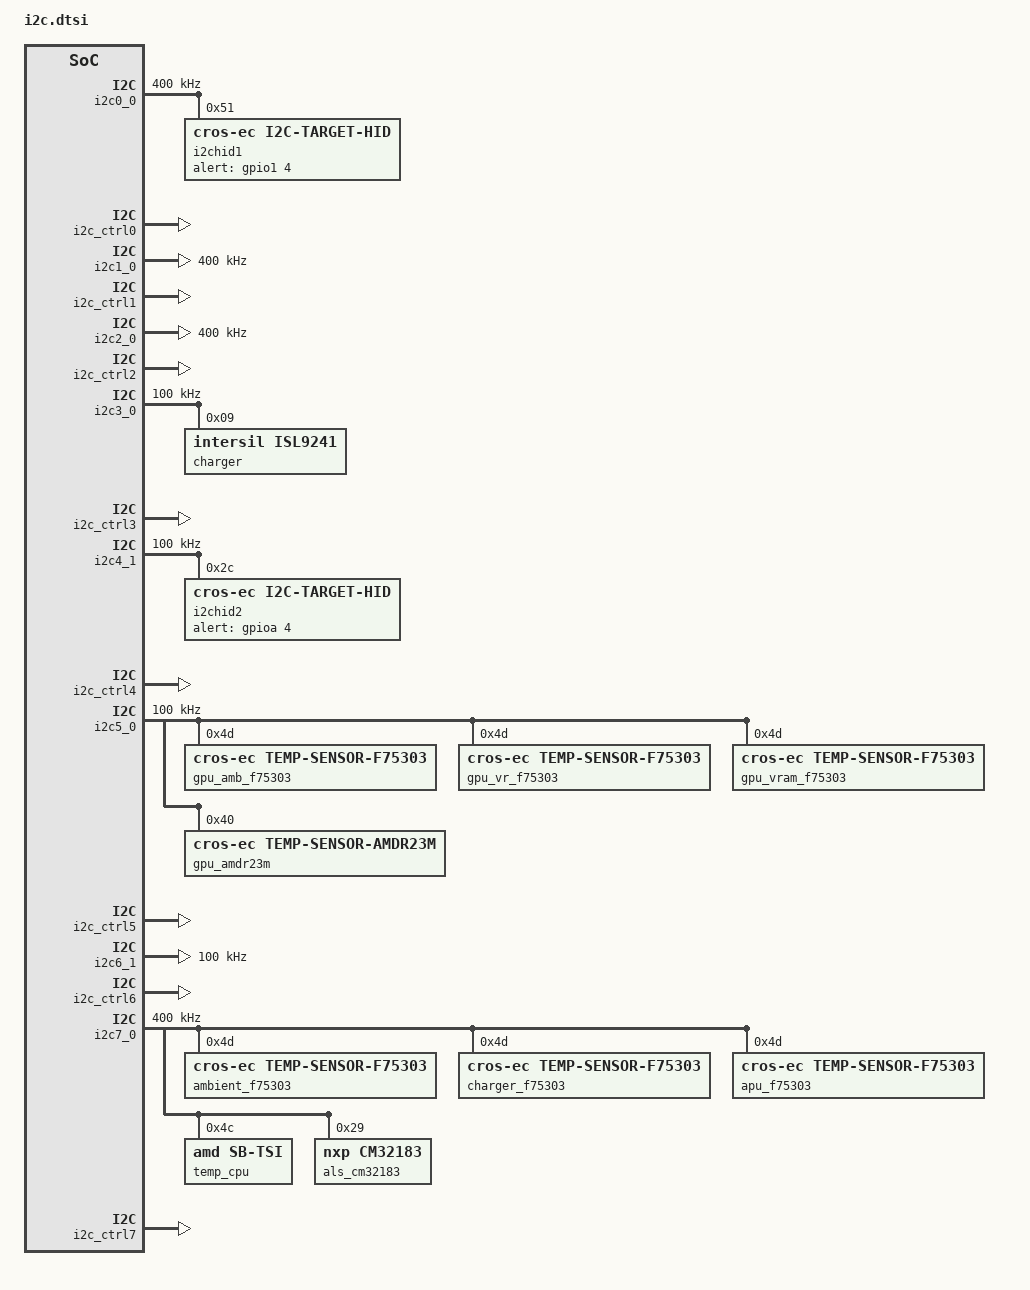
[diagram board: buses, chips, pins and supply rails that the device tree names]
/* Copyright 2022 The ChromiumOS Authors
 * Use of this source code is governed by a BSD-style license that can be
 * found in the LICENSE file.
 */

 #include <dt-bindings/usb_pd_tcpm.h>

/ {
	aliases {
		i2c-0 = &i2c0_0;
		i2c-1 = &i2c1_0;
		i2c-2 = &i2c2_0;
		i2c-3 = &i2c3_0;
		i2c-4 = &i2c4_1;
		i2c-5 = &i2c5_1;
		i2c-6 = &i2c6_1;
		i2c-7 = &i2c7_0;
	};

	named-i2c-ports {
		compatible = "named-i2c-ports";
		i2c_hid_slave: hid_slave {
			/* TODO: how to configure slave mode */
			i2c-port = <&i2c0_0>;
			enum-names = "I2C_PORT_HID_SLAVE";
		};
		i2c_cypd0: cypd0 {
			i2c-port = <&i2c1_0>;
			enum-names = "I2C_PORT_PD_MCU0";
		};
		i2c_cypd1: cypd1 {
			i2c-port = <&i2c2_0>;
			enum-names = "I2C_PORT_PD_MCU1";
		};
		i2c_battery: battery{
			i2c-port = <&i2c3_0>;
			enum-names = "I2C_PORT_BATTERY",
				"I2C_PORT_CHARGER",
				"I2C_PORT_MASTER";
		};
		i2c_touchpad: touchpad {
			i2c-port = <&i2c4_1>;
			enum-names = "I2C_PORT_TOUCHPAD";
			dynamic-speed;
		};
		i2c_gpu0: gpu0 {
			i2c-port = <&i2c5_0>;
			enum-names = "I2C_PORT_GPU0";
		};
		i2c_gpu1: gpu1 {
			i2c-port = <&i2c6_1>;
			enum-names = "I2C_PORT_GPU1";
		};
		i2c_sensor: sensor {
			i2c-port = <&i2c7_0>;
			enum-names =  "I2C_PORT_SENSOR",
				"I2C_PORT_THERMAL_AP",
				"I2C_PORT_ALS";
		};
	};
};

&i2c0_0 {
	status = "okay";
	label = "I2C_PORT0";
	clock-frequency = <I2C_BITRATE_FAST>;
	pinctrl-0 = <&i2c0_0_sda_scl_gpb4_b5>;
	pinctrl-names = "default";

	i2chid1: i2chid@51 {
		compatible = "cros-ec,i2c-target-hid";
		reg = <0x51>;
		alert_gpios = <&gpio1 4 GPIO_OPEN_DRAIN>;
		max_report_size = <32>;
		hid_descriptor = "als_hid_desc";
		hid_report_descriptor = "als_report_desc";
	};
};

&i2c_ctrl0 {
	status = "okay";
};

&i2c1_0 {
	status = "okay";
	label = "I2C_PORT1";
	clock-frequency = <I2C_BITRATE_FAST>;
	pinctrl-0 = <&i2c1_0_sda_scl_gp87_90>;
	pinctrl-names = "default";

	/* TODO: Add the device on this bus */
};

&i2c_ctrl1 {
	status = "okay";
};

&i2c2_0 {
	status = "okay";
	label = "I2C_PORT2";
	clock-frequency = <I2C_BITRATE_FAST>;
	pinctrl-0 = <&i2c2_0_sda_scl_gp91_92>;
	pinctrl-names = "default";

	/* TODO: Add the device on this bus */
};

&i2c_ctrl2 {
	status = "okay";
};

&i2c3_0 {
	status = "okay";
	label = "I2C_PORT3";
	clock-frequency = <I2C_BITRATE_STANDARD>;
	pinctrl-0 = <&i2c3_0_sda_scl_gpd0_d1>;
	pinctrl-names = "default";

	/* TODO: Add the device on this bus */
	charger: isl9241@9 {
		compatible = "intersil,isl9241";
		status = "okay";
		reg = <0x9>;
	};
};

&i2c_ctrl3 {
	status = "okay";
};

&i2c4_1 {
	status = "okay";
	label = "I2C_PORT4";
	clock-frequency = <I2C_BITRATE_STANDARD>;
	pinctrl-0 = <&i2c4_1_sda_scl_gpf2_f3>;
	pinctrl-names = "default";

	i2chid2: i2chid@2c {
		compatible = "cros-ec,i2c-target-hid";
		reg = <0x2c>;
		alert_gpios = <&gpioa 4 GPIO_OPEN_DRAIN>;
		max_report_size = <32>;
		hid_descriptor = "touchpad_hid_desc";
		hid_report_descriptor = "touchpad_report_desc";
	};
};

&i2c_ctrl4 {
	status = "okay";
};

&i2c5_0 {
	status = "okay";
	label = "I2C_PORT5";
	clock-frequency = <I2C_BITRATE_STANDARD>;
	pinctrl-0 = <&i2c5_0_sda_scl_gp33_36>;
	pinctrl-names = "default";

	/* TODO: Add the device on this bus */
	gpu_amb_f75303: gpu_amb_f75303@4d {
		compatible = "cros-ec,temp-sensor-f75303";
		temperature-type = "F75303_IDX_GPU_LOCAL";
		reg = <0x4d>;
	};

	gpu_vr_f75303: gpu_vr_f75303@4d {
		compatible = "cros-ec,temp-sensor-f75303";
		temperature-type = "F75303_IDX_GPU_REMOTE1";
		reg = <0x4d>;
	};

	gpu_vram_f75303: gpu_vram_f75303@4d {
		compatible = "cros-ec,temp-sensor-f75303";
		temperature-type = "F75303_IDX_GPU_REMOTE2";
		reg = <0x4d>;
	};
	gpu_amdr23m: gpu_amdr23m@40 {
		compatible = "cros-ec,temp-sensor-amdr23m";
		reg = <0x40>;
		status = "okay";
	};
};

&i2c_ctrl5 {
	status = "okay";
};

&i2c6_1 {
	status = "okay";
	label = "I2C_PORT6";
	clock-frequency = <I2C_BITRATE_STANDARD>;
	pinctrl-0 = <&i2c6_1_sda_scl_gpe3_e4>;
	pinctrl-names = "default";

	/* TODO: Add the device on this bus */
};

&i2c_ctrl6 {
	status = "okay";
};

&i2c7_0 {
	status = "okay";
	label = "I2C_PORT7";
	clock-frequency = <I2C_BITRATE_FAST>;
	pinctrl-0 = <&i2c7_0_sda_scl_gpb2_b3>;
	pinctrl-names = "default";

	/* TODO: Add the device on this bus */
	ambient_f75303: ambient_f75303@4d {
		compatible = "cros-ec,temp-sensor-f75303";
		temperature-type = "F75303_IDX_LOCAL";
		reg = <0x4d>;
	};

	charger_f75303: charger_f75303@4d {
		compatible = "cros-ec,temp-sensor-f75303";
		temperature-type = "F75303_IDX_REMOTE2";
		reg = <0x4d>;
	};

	apu_f75303: apu_f75303@4d {
		compatible = "cros-ec,temp-sensor-f75303";
		temperature-type = "F75303_IDX_REMOTE1";
		reg = <0x4d>;
	};

	temp_cpu: cpu@4c {
		compatible = "amd,sb-tsi";
		reg = <0x4c>;
	};

	als_cm32183: als-cm32183@29 {
		compatible = "nxp,cm32183";
		reg = <0x29>;
	};
};

&i2c_ctrl7 {
	status = "okay";
};
